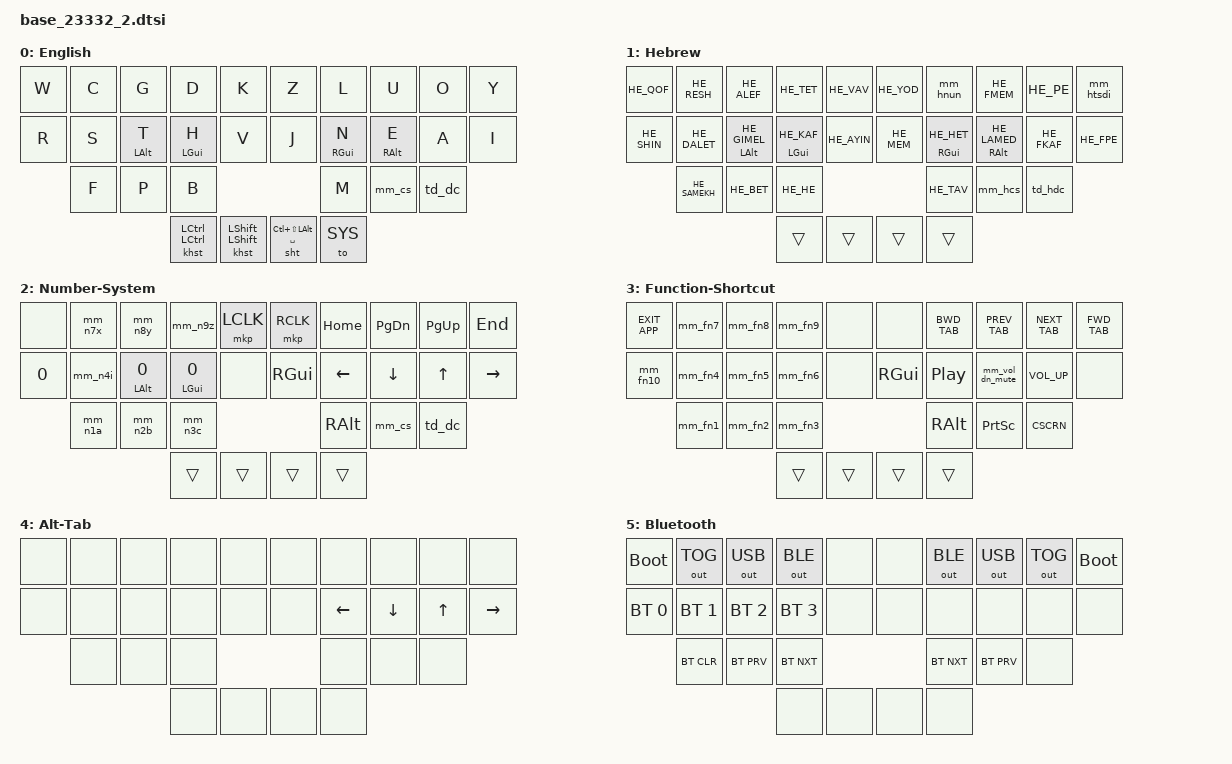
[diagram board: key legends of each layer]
/*
 * Copyright (c) 2020 The ZMK Contributors
 *
 * SPDX-License-Identifier: MIT
 */

#include <behaviors.dtsi>
#include <dt-bindings/zmk/bt.h>
#include <dt-bindings/zmk/keys.h>
#include <dt-bindings/zmk/outputs.h>
#include <dt-bindings/zmk/mouse.h>

// Hebrew Keymap
#include "hebrew.h"

// Extra Keys
#include "shortcut.h"

#define MEH LC(LS(LALT))
#define HYP LC(LS(LA(LGUI)))

// Behaviors Constants
#define long_tap 200
#define short_tap 150

// Combos Constants
// #define default_timeout 50

// Layers
#define ENG     0
#define HEB     1
#define SYS     2
#define FUN     3
#define ATB     4
#define BLE     5

/*
* KEY POSITIONS
*         ╭─────────────────────╮ ╭──────────────────────╮
* HIGH:   │ LH4 LH3 LH2 LH1 LH0 │ │ RH0 RH1 RH2 RH3 RH4  │
* MIDDLE: │ LM4 LM3 LM2 LM1 LM0 │ │ RM0 RM1 RM2 RM3 RM4  │
* LOW:    │     LL3 LL2 LL1     │ │     RL1 RL2 RL3      │
* THUMB:  ╰─────────╮   LT1 LT0 │ │ RT0 RT1 ╭────────────╯
*                   ╰───────────╯ ╰─────────╯ 
*/

#define KEYS_LH LH4 LH3 LH2 LH1 LH0
#define KEYS_LM LM4 LM3 LM2 LM1 LM0
#define KEYS_LL LL3 LL2 LL1
#define KEYS_RH RH4 RH3 RH2 RH1 RH0
#define KEYS_RM RM4 RM3 RM2 RM1 RM0
#define KEYS_RL RL3 RL2 RL1

#define KEYS_L KEYS_LH KEYS_LM KEYS_LL
#define KEYS_R KEYS_RH KEYS_RM KEYS_RL

#include "_behaviors.dtsi"
#include "_macros.dtsi"
#include "_combos_23332_2.dtsi"
// #include "_mouse.dtsi"

// Layers
// #include "layer_heb.dtsi"
// #include "layer_sys.dtsi"
// #include "layer_fun.dtsi"
// #include "layer_ble.dtsi"
// #include "layer_atb.dtsi"

// Behavior Defaults
// Mod-Tap
&mt {
    tapping_term_ms = <200>;
    flavor = "tap-preferred";
};
// Sticky-Key
&sk {
    release-after-ms = <2000>;
    quick-release;
};

&caps_word { continue-list = <BACKSPACE DELETE UNDERSCORE MINUS BSPC DEL N1 N2 N3 N4 N5 N6 N7 N8 N9 N0>; };

/ {
    keymap {
        compatible = "zmk,keymap";
        ENG {
            display-name = "English";
            bindings = <
&kp W   &kp C   &kp G       &kp D               &kp K               &kp Z           &kp L       &kp U       &kp O   &kp Y
&kp R   &kp S   &hml LALT T &hml LGUI H         &kp V               &kp J           &hmr RGUI N &hmr RALT E &kp A   &kp I
        &kp F   &kp P       &kp B                                                   &kp M       &mm_cs      &td_dc
                            &khst LCTRL LCTRL   &khst LSHFT LSHFT   &sht MEH SPACE  &to SYS
            >;
        };
        HEB {
            display-name = "Hebrew";
            bindings = <
&kp HE_QOF  &kp HE_RESH     &kp HE_ALEF         &kp HE_TET          &kp HE_VAV      &kp HE_YOD  &mm_hnun            &kp HE_FMEM         &kp HE_PE   &mm_htsdi
&kp HE_SHIN &kp HE_DALET    &hml LALT HE_GIMEL  &hml LGUI HE_KAF    &kp HE_AYIN     &kp HE_MEM  &hmr RGUI HE_HET    &hmr RALT HE_LAMED  &kp HE_FKAF &kp HE_FPE
            &kp HE_SAMEKH   &kp HE_BET          &kp HE_HE                                       &kp HE_TAV          &mm_hcs             &td_hdc
                                                &trans              &trans          &trans      &trans
            >;
        };
        SYS {
            display-name = "Number-System";
            bindings = <
&none   &mm_n7x  &mm_n8y            &mm_n9z         &mkp LCLK    &mkp RCLK  &kp HOME    &kp PG_DN   &kp PG_UP   &kp END
&kp N0  &mm_n4i  &hml_s5 LALT 0     &hml_s6 LGUI 0  &none        &kp RGUI   &kp LEFT    &kp DOWN    &kp UP      &kp RIGHT
        &mm_n1a  &mm_n2b            &mm_n3c                                 &kp RALT    &mm_cs      &td_dc      
                                    &trans          &trans                  &trans      &trans
            >;
        };
        FUN {
            display-name = "Function-Shortcut";
            bindings = <
&kp EXIT_APP    &mm_fn7 &mm_fn8 &mm_fn9 &none       &none       &kp BWD_TAB &kp PREV_TAB    &kp NEXT_TAB    &kp FWD_TAB
&mm_fn10        &mm_fn4 &mm_fn5 &mm_fn6 &none       &kp RGUI    &kp C_PP    &mm_vol_dn_mute &kp C_VOL_UP    &none
                &mm_fn1 &mm_fn2 &mm_fn3                         &kp RALT    &kp PSCRN       &kp CSCRN
                                &trans  &trans      &trans      &trans
            >;
        };
        ATB {
            display-name = "Alt-Tab";
            bindings = <
&none   &none   &none   &none   &none       &none   &none       &none       &none       &none
&none   &none   &none   &none   &none       &none   &kp LEFT    &kp DOWN    &kp UP      &kp RIGHT
        &none   &none   &none                       &none       &none       &none
                        &none   &none       &none   &none
            >;
        };
        BLE {
            display-name = "Bluetooth";
            bindings = <
&bootloader     &out OUT_TOG    &out OUT_USB    &out OUT_BLE    &none       &none   &out OUT_BLE    &out OUT_USB    &out OUT_TOG    &bootloader
&bt BT_SEL 0    &bt BT_SEL 1    &bt BT_SEL 2    &bt BT_SEL 3    &none       &none   &none           &none           &none           &none
                &bt BT_CLR      &bt BT_PRV      &bt BT_NXT                          &bt BT_NXT      &bt BT_PRV      &none
                                                &none           &none       &none   &none
            >;
        };
    };
};
